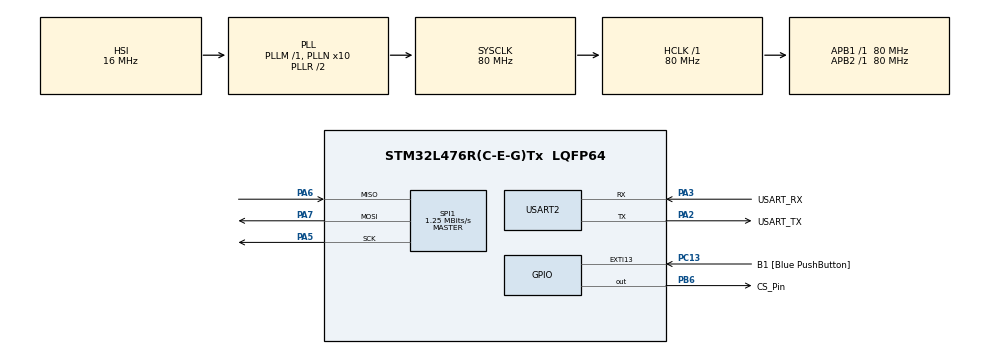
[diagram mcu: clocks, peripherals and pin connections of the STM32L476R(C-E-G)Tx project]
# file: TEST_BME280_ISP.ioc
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Mcu.Family=STM32L4
Mcu.Name=STM32L476R(C-E-G)Tx
Mcu.Package=LQFP64
NVIC.PriorityGroup=NVIC_PRIORITYGROUP_4
PA13\ (JTMS-SWDIO).GPIO_Label=TMS
PA13\ (JTMS-SWDIO).Mode=Serial_Wire
PA13\ (JTMS-SWDIO).Signal=SYS_JTMS-SWDIO
PA14\ (JTCK-SWCLK).GPIO_Label=TCK
PA14\ (JTCK-SWCLK).Mode=Serial_Wire
PA14\ (JTCK-SWCLK).Signal=SYS_JTCK-SWCLK
PA2.GPIO_Label=USART_TX
PA2.GPIO_Mode=GPIO_MODE_AF_PP
PA2.GPIO_PuPd=GPIO_NOPULL
PA2.GPIO_Speed=GPIO_SPEED_FREQ_VERY_HIGH
PA2.Mode=Asynchronous
PA2.Signal=USART2_TX
PA3.GPIO_Label=USART_RX
PA3.GPIO_Mode=GPIO_MODE_AF_PP
PA3.GPIO_PuPd=GPIO_NOPULL
PA3.GPIO_Speed=GPIO_SPEED_FREQ_VERY_HIGH
PA3.Mode=Asynchronous
PA3.Signal=USART2_RX
PA5.Mode=Full_Duplex_Master
PA5.Signal=SPI1_SCK
PA6.Mode=Full_Duplex_Master
PA6.Signal=SPI1_MISO
PA7.Mode=Full_Duplex_Master
PA7.Signal=SPI1_MOSI
PB3\ (JTDO-TRACESWO).GPIO_Label=SWO
PB3\ (JTDO-TRACESWO).Signal=SYS_JTDO-SWO
PB6.GPIO_Label=CS_Pin
PB6.Signal=GPIO_Output
PC13.GPIO_Label=B1 [Blue PushButton]
PC13.GPIO_ModeDefaultEXTI=GPIO_MODE_IT_FALLING
PC13.GPIO_PuPd=GPIO_NOPULL
PC13.Signal=GPXTI13
PC14-OSC32_IN\ (PC14).Mode=LSE-External-Oscillator
PC14-OSC32_IN\ (PC14).Signal=RCC_OSC32_IN
PC15-OSC32_OUT\ (PC15).Mode=LSE-External-Oscillator
PC15-OSC32_OUT\ (PC15).Signal=RCC_OSC32_OUT
PH0-OSC_IN\ (PH0).Signal=RCC_OSC_IN
PH1-OSC_OUT\ (PH1).Signal=RCC_OSC_OUT
ProjectManager.HeapSize=0x200
ProjectManager.StackSize=0x400
ProjectManager.TargetToolchain=STM32CubeIDE
RCC.ADCFreq_Value=64000000
RCC.AHBFreq_Value=80000000
RCC.APB1Freq_Value=80000000
RCC.APB1TimFreq_Value=80000000
RCC.APB2Freq_Value=80000000
RCC.APB2TimFreq_Value=80000000
RCC.CortexFreq_Value=80000000
RCC.HCLKFreq_Value=80000000
RCC.HSE_VALUE=8000000
RCC.HSI_VALUE=16000000
RCC.MSI_VALUE=4000000
RCC.PLLN=10
RCC.PLLSourceVirtual=RCC_PLLSOURCE_HSI
RCC.PREFETCH_ENABLE=1
RCC.SYSCLKFreq_VALUE=80000000
RCC.SYSCLKSource=RCC_SYSCLKSOURCE_PLLCLK
RCC.USBFreq_Value=64000000
RCC.VCOOutputFreq_Value=160000000
SPI1.BaudRatePrescaler=SPI_BAUDRATEPRESCALER_64
SPI1.CalculateBaudRate=1.25 MBits/s
SPI1.DataSize=SPI_DATASIZE_8BIT
SPI1.Direction=SPI_DIRECTION_2LINES
SPI1.Mode=SPI_MODE_MASTER
SPI1.NSSPMode=SPI_NSS_PULSE_ENABLE
SPI1.VirtualType=VM_MASTER
USART2.VirtualMode-Asynchronous=VM_ASYNC
board=NUCLEO-L476RG

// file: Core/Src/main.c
/* USER CODE BEGIN Header */
/**
 ******************************************************************************
 * @file           : main.c
 * @brief          : Main program body
 ******************************************************************************
 * @attention
 *
 * Copyright (c) 2023 STMicroelectronics.
 * All rights reserved.
 *
 * This software is licensed under terms that can be found in the LICENSE file
 * in the root directory of this software component.
 * If no LICENSE file comes with this software, it is provided AS-IS.
 *
 ******************************************************************************
 */
/* USER CODE END Header */
#include "main.h"

/* USER CODE BEGIN Includes */
#include <stdio.h>
/* USER CODE END Includes */

SPI_HandleTypeDef hspi1;

UART_HandleTypeDef huart2;

void SystemClock_Config(void);
static void MX_GPIO_Init(void);
static void MX_USART2_UART_Init(void);
static void MX_SPI1_Init(void);

int main(void) {
	/* USER CODE BEGIN 1 */
	uint16_t dig_T1 = 0;
	int16_t dig_T2 = 0;
	int16_t dig_T3 = 0;
	uint16_t dig_P1 = 0;
	int16_t dig_P2 = 0;
	int16_t dig_P3 = 0;
	int16_t dig_P4 = 0;
	int16_t dig_P5 = 0;
	int16_t dig_P6 = 0;
	int16_t dig_P7 = 0;
	int16_t dig_P8 = 0;
	int16_t dig_P9 = 0;
	uint8_t dig_H1;
	int16_t dig_H2;
	uint8_t dig_H3;
	int16_t dig_H4;
	int16_t dig_H5;
	uint8_t dig_H6;
	uint8_t trimdata[25];
	uint8_t humiddata[7];
	uint8_t RawData[8];
	int32_t tRaw;
	int32_t pRaw;
	int32_t hRaw;
	char SendData[80];
	int32_t t_fine;
	/* USER CODE END 1 */

	/* MCU Configuration--------------------------------------------------------*/

	/* Reset of all peripherals, Initializes the Flash interface and the Systick. */
	HAL_Init();

	/* Configure the system clock */
	SystemClock_Config();

	/* Initialize all configured peripherals */
	MX_GPIO_Init();
	MX_USART2_UART_Init();
	MX_SPI1_Init();
	/* USER CODE BEGIN 2 */

	int32_t BME280_compensate_T_int32(int32_t adc_T) {
		int32_t var1, var2, T;
		var1 = ((((adc_T >> 3) - ((int32_t) dig_T1 << 1))) * ((int32_t) dig_T2))
				>> 11;
		var2 = (((((adc_T >> 4) - ((int32_t) dig_T1))
				* ((adc_T >> 4) - ((int32_t) dig_T1))) >> 12)
				* ((int32_t) dig_T3)) >> 14;
		t_fine = var1 + var2;
		T = (t_fine * 5 + 128) >> 8;
		return T;
	}

	uint32_t BME280_compensate_P_int64(int32_t adc_P) {
		int64_t var1, var2, p;
		var1 = ((int64_t) t_fine) - 128000;
		var2 = var1 * var1 * (int64_t) dig_P6;
		var2 = var2 + ((var1 * (int64_t) dig_P5) << 17);
		var2 = var2 + (((int64_t) dig_P4) << 35);
		var1 = ((var1 * var1 * (int64_t) dig_P3) >> 8)
				+ ((var1 * (int64_t) dig_P2) << 12);
		var1 = (((((int64_t) 1) << 47) + var1)) * ((int64_t) dig_P1) >> 33;
		if (var1 == 0) {
			return 0; // avoid exception caused by division by zero
		}
		p = 1048576 - adc_P;
		p = (((p << 31) - var2) * 3125) / var1;
		var1 = (((int64_t) dig_P9) * (p >> 13) * (p >> 13)) >> 25;
		var2 = (((int64_t) dig_P8) * p) >> 19;
		p = ((p + var1 + var2) >> 8) + (((int64_t) dig_P7) << 4);
		return (uint32_t) p;
	}

	uint32_t bme280_compensate_H_int32(int32_t adc_H) {
		int32_t v_x1_u32r;
		v_x1_u32r = (t_fine - ((int32_t) 76800));
		v_x1_u32r = (((((adc_H << 14) - (((int32_t) dig_H4) << 20)
				- (((int32_t) dig_H5) * v_x1_u32r)) + ((int32_t) 16384)) >> 15)
				* (((((((v_x1_u32r * ((int32_t) dig_H6)) >> 10)
						* (((v_x1_u32r * ((int32_t) dig_H3)) >> 11)
								+ ((int32_t) 32768))) >> 10)
						+ ((int32_t) 2097152)) * ((int32_t) dig_H2) + 8192)
						>> 14));
		v_x1_u32r = (v_x1_u32r
				- (((((v_x1_u32r >> 15) * (v_x1_u32r >> 15)) >> 7)
						* ((int32_t) dig_H1)) >> 4));
		v_x1_u32r = (v_x1_u32r < 0 ? 0 : v_x1_u32r);
		v_x1_u32r = (v_x1_u32r > 419430400 ? 419430400 : v_x1_u32r);
		return (uint32_t) (v_x1_u32r >> 12);
	}

	HAL_GPIO_WritePin(GPIOB, GPIO_PIN_6, GPIO_PIN_SET);
	HAL_Delay(100);

	uint8_t active_h[2];
	active_h[0] = 0xF2 & ~ 0b10000000;
	active_h[1] = 0x03;

	uint8_t active_t_p[2];
	active_t_p[0] = 0xF4 & ~ 0b10000000;
	active_t_p[1] = 0x27; //(0x03 << 5) | (0x05 << 2) | 0x03:
	//write to humidity

	HAL_GPIO_WritePin(GPIOB, GPIO_PIN_6, GPIO_PIN_RESET);
	HAL_SPI_Transmit(&hspi1, active_h, 2, 1000);
	HAL_GPIO_WritePin(GPIOB, GPIO_PIN_6, GPIO_PIN_SET);

	HAL_Delay(100);

	HAL_GPIO_WritePin(GPIOB, GPIO_PIN_6, GPIO_PIN_RESET);
	HAL_SPI_Transmit(&hspi1, active_t_p, 2, 1000);
	HAL_GPIO_WritePin(GPIOB, GPIO_PIN_6, GPIO_PIN_SET);

	HAL_Delay(100);
	/* USER CODE END 2 */

	/* Infinite loop */
	while (1) {

		/* USER CODE BEGIN 3 */

		uint8_t chip = 0xD0 | 0b10000000;
		uint8_t test;
		HAL_GPIO_WritePin(GPIOB, GPIO_PIN_6, GPIO_PIN_RESET);
		HAL_SPI_Transmit(&hspi1, &chip, 1, 1000);
		HAL_SPI_Receive(&hspi1, &test, 1, 1000);
		HAL_GPIO_WritePin(GPIOB, GPIO_PIN_6, GPIO_PIN_SET);
		HAL_Delay(100);

		uint8_t raw_data = 0xF7;
		HAL_GPIO_WritePin(GPIOB, GPIO_PIN_6, GPIO_PIN_RESET);
		HAL_SPI_Transmit(&hspi1, &raw_data, 1, 1000);
		HAL_SPI_Receive(&hspi1, &RawData, 8, 1000);
		HAL_GPIO_WritePin(GPIOB, GPIO_PIN_6, GPIO_PIN_SET);
		HAL_Delay(100);

		uint8_t temp_pres_1 = 0x88;
		HAL_GPIO_WritePin(GPIOB, GPIO_PIN_6, GPIO_PIN_RESET);
		HAL_SPI_Transmit(&hspi1, &temp_pres_1, 1, 1000);
		HAL_SPI_Receive(&hspi1, &trimdata, 25, 1000);
		HAL_GPIO_WritePin(GPIOB, GPIO_PIN_6, GPIO_PIN_SET);
		HAL_Delay(100);

		uint8_t temp_pres_2 = 0xE1;
		HAL_GPIO_WritePin(GPIOB, GPIO_PIN_6, GPIO_PIN_RESET);
		HAL_SPI_Transmit(&hspi1, &temp_pres_2, 1, 1000);
		HAL_SPI_Receive(&hspi1, &humiddata, 7, 1000);
		HAL_GPIO_WritePin(GPIOB, GPIO_PIN_6, GPIO_PIN_SET);
		HAL_Delay(100);

		dig_T1 = (trimdata[1] << 8) | trimdata[0];
		dig_T2 = (trimdata[3] << 8) | trimdata[2];
		dig_T3 = (trimdata[5] << 8) | trimdata[4];
		dig_P1 = (trimdata[7] << 8) | trimdata[5];
		dig_P2 = (trimdata[9] << 8) | trimdata[6];
		dig_P3 = (trimdata[11] << 8) | trimdata[10];
		dig_P4 = (trimdata[13] << 8) | trimdata[12];
		dig_P5 = (trimdata[15] << 8) | trimdata[14];
		dig_P6 = (trimdata[17] << 8) | trimdata[16];
		dig_P7 = (trimdata[19] << 8) | trimdata[18];
		dig_P8 = (trimdata[21] << 8) | trimdata[20];
		dig_P9 = (trimdata[23] << 8) | trimdata[22];
		dig_H1 = trimdata[24];
		dig_H2 = (humiddata[1] << 8) | humiddata[0];
		dig_H3 = (humiddata[2]);
		dig_H4 = (humiddata[3] << 4) | (humiddata[4] & 0x0f);
		dig_H5 = (humiddata[6] << 4) | (humiddata[5] >> 4);
		dig_H6 = (humiddata[7]);

		pRaw = (RawData[0]<<12)|(RawData[1]<<4)|(RawData[2]>>4);
		tRaw = (RawData[3]<<12)|(RawData[4]<<4)|(RawData[5]>>4);
		hRaw = (RawData[6]<<8)|(RawData[7]);

		int temp = BME280_compensate_T_int32(tRaw);
		int pressure = BME280_compensate_P_int64(pRaw);
		int humid = bme280_compensate_H_int32(hRaw);

		int len = sprintf(SendData, "%u,%u,%u \r\n", temp, pressure, humid);

		HAL_UART_Transmit(&huart2, (uint8_t*) SendData, len, 10); // Sending in normal mode
		HAL_Delay(1000);

	}
	/* USER CODE END 3 */
}

void SystemClock_Config(void) {
	RCC_OscInitTypeDef RCC_OscInitStruct = { 0 };
	RCC_ClkInitTypeDef RCC_ClkInitStruct = { 0 };

	/** Configure the main internal regulator output voltage
	 */
	if (HAL_PWREx_ControlVoltageScaling(PWR_REGULATOR_VOLTAGE_SCALE1)
			!= HAL_OK) {
		Error_Handler();
	}

	/** Initializes the RCC Oscillators according to the specified parameters
	 * in the RCC_OscInitTypeDef structure.
	 */
	RCC_OscInitStruct.OscillatorType = RCC_OSCILLATORTYPE_HSI;
	RCC_OscInitStruct.HSIState = RCC_HSI_ON;
	RCC_OscInitStruct.HSICalibrationValue = RCC_HSICALIBRATION_DEFAULT;
	RCC_OscInitStruct.PLL.PLLState = RCC_PLL_ON;
	RCC_OscInitStruct.PLL.PLLSource = RCC_PLLSOURCE_HSI;
	RCC_OscInitStruct.PLL.PLLM = 1;
	RCC_OscInitStruct.PLL.PLLN = 10;
	RCC_OscInitStruct.PLL.PLLP = RCC_PLLP_DIV7;
	RCC_OscInitStruct.PLL.PLLQ = RCC_PLLQ_DIV2;
	RCC_OscInitStruct.PLL.PLLR = RCC_PLLR_DIV2;
	if (HAL_RCC_OscConfig(&RCC_OscInitStruct) != HAL_OK) {
		Error_Handler();
	}

	/** Initializes the CPU, AHB and APB buses clocks
	 */
	RCC_ClkInitStruct.ClockType = RCC_CLOCKTYPE_HCLK | RCC_CLOCKTYPE_SYSCLK
			| RCC_CLOCKTYPE_PCLK1 | RCC_CLOCKTYPE_PCLK2;
	RCC_ClkInitStruct.SYSCLKSource = RCC_SYSCLKSOURCE_PLLCLK;
	RCC_ClkInitStruct.AHBCLKDivider = RCC_SYSCLK_DIV1;
	RCC_ClkInitStruct.APB1CLKDivider = RCC_HCLK_DIV1;
	RCC_ClkInitStruct.APB2CLKDivider = RCC_HCLK_DIV1;

	if (HAL_RCC_ClockConfig(&RCC_ClkInitStruct, FLASH_LATENCY_4) != HAL_OK) {
		Error_Handler();
	}
}

static void MX_SPI1_Init(void) {

	/* SPI1 parameter configuration*/
	hspi1.Instance = SPI1;
	hspi1.Init.Mode = SPI_MODE_MASTER;
	hspi1.Init.Direction = SPI_DIRECTION_2LINES;
	hspi1.Init.DataSize = SPI_DATASIZE_8BIT;
	hspi1.Init.CLKPolarity = SPI_POLARITY_LOW;
	hspi1.Init.CLKPhase = SPI_PHASE_1EDGE;
	hspi1.Init.NSS = SPI_NSS_SOFT;
	hspi1.Init.BaudRatePrescaler = SPI_BAUDRATEPRESCALER_64;
	hspi1.Init.FirstBit = SPI_FIRSTBIT_MSB;
	hspi1.Init.TIMode = SPI_TIMODE_DISABLE;
	hspi1.Init.CRCCalculation = SPI_CRCCALCULATION_DISABLE;
	hspi1.Init.CRCPolynomial = 7;
	hspi1.Init.CRCLength = SPI_CRC_LENGTH_DATASIZE;
	hspi1.Init.NSSPMode = SPI_NSS_PULSE_ENABLE;
	if (HAL_SPI_Init(&hspi1) != HAL_OK) {
		Error_Handler();
	}

}

static void MX_USART2_UART_Init(void) {

	huart2.Instance = USART2;
	huart2.Init.BaudRate = 115200;
	huart2.Init.WordLength = UART_WORDLENGTH_8B;
	huart2.Init.StopBits = UART_STOPBITS_1;
	huart2.Init.Parity = UART_PARITY_NONE;
	huart2.Init.Mode = UART_MODE_TX_RX;
	huart2.Init.HwFlowCtl = UART_HWCONTROL_NONE;
	huart2.Init.OverSampling = UART_OVERSAMPLING_16;
	huart2.Init.OneBitSampling = UART_ONE_BIT_SAMPLE_DISABLE;
	huart2.AdvancedInit.AdvFeatureInit = UART_ADVFEATURE_NO_INIT;
	if (HAL_UART_Init(&huart2) != HAL_OK) {
		Error_Handler();
	}

}

static void MX_GPIO_Init(void) {
	GPIO_InitTypeDef GPIO_InitStruct = { 0 };

	/* GPIO Ports Clock Enable */
	__HAL_RCC_GPIOC_CLK_ENABLE();
	__HAL_RCC_GPIOH_CLK_ENABLE();
	__HAL_RCC_GPIOA_CLK_ENABLE();
	__HAL_RCC_GPIOB_CLK_ENABLE();

	/*Configure GPIO pin Output Level */
	HAL_GPIO_WritePin(CS_Pin_GPIO_Port, CS_Pin_Pin, GPIO_PIN_RESET);

	/*Configure GPIO pin : B1_Pin */
	GPIO_InitStruct.Pin = B1_Pin;
	GPIO_InitStruct.Mode = GPIO_MODE_IT_FALLING;
	GPIO_InitStruct.Pull = GPIO_NOPULL;
	HAL_GPIO_Init(B1_GPIO_Port, &GPIO_InitStruct);

	/*Configure GPIO pin : CS_Pin_Pin */
	GPIO_InitStruct.Pin = CS_Pin_Pin;
	GPIO_InitStruct.Mode = GPIO_MODE_OUTPUT_PP;
	GPIO_InitStruct.Pull = GPIO_NOPULL;
	GPIO_InitStruct.Speed = GPIO_SPEED_FREQ_LOW;
	HAL_GPIO_Init(CS_Pin_GPIO_Port, &GPIO_InitStruct);

}

void Error_Handler(void) {
	__disable_irq();
	while (1) {
	}
}
